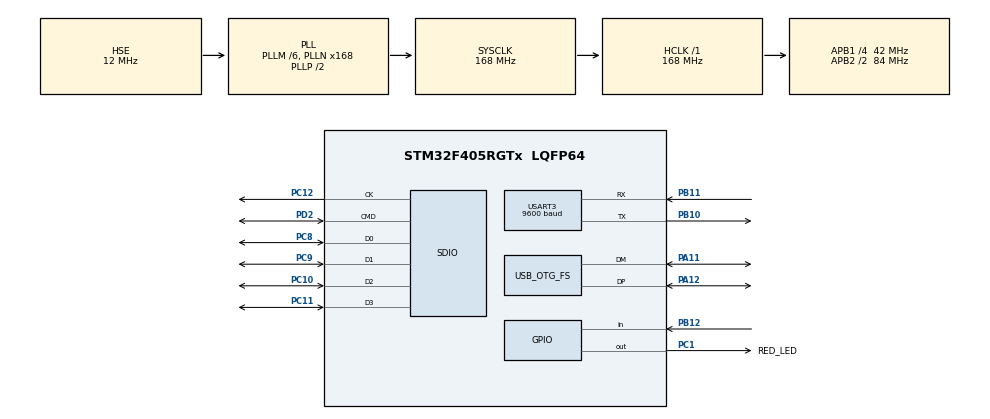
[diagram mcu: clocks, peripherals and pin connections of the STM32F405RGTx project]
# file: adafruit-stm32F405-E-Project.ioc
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Mcu.Family=STM32F4
NVIC.USART3_IRQn=true\:0\:0\:false\:false\:true\:true\:true
Dma.SDIO_TX.1.MemInc=DMA_MINC_ENABLE
USB_DEVICE.CLASS_NAME_FS=CDC
PH0-OSC_IN.Signal=RCC_OSC_IN
RCC.CortexFreq_Value=168000000
PC10.GPIO_PuPd=GPIO_PULLUP
FATFS0.BSP.api=Unknown
PB10.Mode=Asynchronous
VP_FATFS_VS_SDIO.Mode=SDIO
PC12.Signal=SDIO_CK
PC10.Signal=SDIO_D2
PA11.Mode=Device_Only
USB_DEVICE.VirtualMode-CDC_FS=Cdc
PB11.Signal=USART3_RX
Dma.SDIO_TX.1.PeriphBurst=DMA_PBURST_INC4
RCC.SYSCLKSource=RCC_SYSCLKSOURCE_PLLCLK
ProjectManager.StackSize=0x400
Dma.SDIO_RX.0.Direction=DMA_PERIPH_TO_MEMORY
Dma.SDIO_TX.1.PeriphInc=DMA_PINC_DISABLE
Dma.SDIO_TX.1.Instance=DMA2_Stream6
Dma.USART3_RX.2.Priority=DMA_PRIORITY_LOW
PA12.Signal=USB_OTG_FS_DP
Dma.SDIO_TX.1.PeriphDataAlignment=DMA_PDATAALIGN_WORD
USART3.BaudRate=9600
Dma.USART3_RX.2.PeriphInc=DMA_PINC_DISABLE
RCC.HCLKFreq_Value=168000000
RCC.APB2TimFreq_Value=168000000
Dma.SDIO_TX.1.FIFOMode=DMA_FIFOMODE_ENABLE
RCC.AHBFreq_Value=168000000
PH0-OSC_IN.Mode=HSE-External-Oscillator
FATFS0.BSP.ip=GPIO
RCC.HSE_VALUE=12000000
FATFS0.BSP.i2caddr=0
Dma.SDIO_TX.1.MemBurst=DMA_MBURST_INC4
PA14.Mode=Serial_Wire
PC9.Mode=SD_4_bits_Wide_bus
Dma.SDIO_TX.1.Direction=DMA_MEMORY_TO_PERIPH
Dma.SDIO_RX.0.MemDataAlignment=DMA_MDATAALIGN_WORD
PH1-OSC_OUT.Mode=HSE-External-Oscillator
Mcu.Package=LQFP64
FATFS0.BSP.solution=PB12
NVIC.OTG_FS_IRQn=true\:0\:0\:false\:false\:true\:false\:true
USB_OTG_FS.VirtualMode=Device_Only
PC11.Mode=SD_4_bits_Wide_bus
Dma.SDIO_TX.1.FIFOThreshold=DMA_FIFO_THRESHOLD_FULL
Dma.SDIO_TX.1.Priority=DMA_PRIORITY_LOW
RCC.APB2CLKDivider=RCC_HCLK_DIV2
Dma.Request2=USART3_RX
Dma.Request1=SDIO_TX
RCC.APB1TimFreq_Value=84000000
Dma.SDIO_RX.0.MemBurst=DMA_MBURST_INC4
Dma.SDIO_RX.0.Instance=DMA2_Stream3
Dma.Request0=SDIO_RX
Dma.SDIO_RX.0.FIFOMode=DMA_FIFOMODE_ENABLE
FATFS0.BSP.STBoard=false
Dma.SDIO_RX.0.Mode=DMA_PFCTRL
Dma.SDIO_RX.0.Priority=DMA_PRIORITY_LOW
PD2.GPIO_PuPd=GPIO_PULLUP
Dma.USART3_RX.2.Mode=DMA_CIRCULAR
USB_DEVICE.VirtualModeFS=Cdc_FS
PC11.Signal=SDIO_D3
FATFS0.BSP.mode=Input
PC8.Signal=SDIO_D0
Dma.SDIO_RX.0.PeriphInc=DMA_PINC_DISABLE
PC10.Mode=SD_4_bits_Wide_bus
NVIC.DMA1_Stream1_IRQn=true\:0\:0\:false\:false\:true\:false\:true
RCC.APB1CLKDivider=RCC_HCLK_DIV4
NVIC.SDIO_IRQn=true\:0\:0\:false\:false\:true\:true\:true
FATFS0.BSP.instance=PB12
PA13.Signal=SYS_JTMS-SWDIO
Dma.USART3_RX.2.PeriphDataAlignment=DMA_PDATAALIGN_BYTE
Dma.SDIO_TX.1.MemDataAlignment=DMA_MDATAALIGN_WORD
Dma.USART3_RX.2.MemInc=DMA_MINC_ENABLE
Dma.SDIO_RX.0.MemInc=DMA_MINC_ENABLE
PB11.Mode=Asynchronous
Dma.SDIO_RX.0.FIFOThreshold=DMA_FIFO_THRESHOLD_FULL
ProjectManager.TargetToolchain=STM32CubeIDE
VP_USB_DEVICE_VS_USB_DEVICE_CDC_FS.Mode=CDC_FS
NVIC.DMA2_Stream3_IRQn=true\:0\:0\:false\:false\:true\:false\:true
NVIC.DMA2_Stream6_IRQn=true\:0\:0\:false\:false\:true\:false\:true
Dma.USART3_RX.2.Direction=DMA_PERIPH_TO_MEMORY
RCC.LSE_VALUE=32768
PB10.Signal=USART3_TX
Dma.SDIO_RX.0.PeriphDataAlignment=DMA_PDATAALIGN_WORD
PD2.Mode=SD_4_bits_Wide_bus
FATFS.BSP.number=1
PC12.Mode=SD_4_bits_Wide_bus
board=custom
RCC.VCOOutputFreq_Value=336000000
FATFS.USE_DMA_CODE_SD=1
RCC.APB2Freq_Value=84000000
PC1.GPIO_Label=RED_LED
PC9.GPIO_PuPd=GPIO_PULLUP
PH1-OSC_OUT.Signal=RCC_OSC_OUT
Dma.SDIO_TX.1.Mode=DMA_PFCTRL
PA13.Mode=Serial_Wire
Mcu.Name=STM32F405RGTx
PC8.Mode=SD_4_bits_Wide_bus
RCC.48MHZClocksFreq_Value=48000000
PC8.GPIO_PuPd=GPIO_PULLUP
RCC.SYSCLKFreq_VALUE=168000000
PA12.Mode=Device_Only
USART3.VirtualMode=VM_ASYNC
PA11.Signal=USB_OTG_FS_DM
PA14.Signal=SYS_JTCK-SWCLK
ProjectManager.HeapSize=0x200
Dma.USART3_RX.2.FIFOMode=DMA_FIFOMODE_DISABLE
RCC.HSI_VALUE=16000000
RCC.PLLQ=7
Dma.USART3_RX.2.MemDataAlignment=DMA_MDATAALIGN_BYTE
NVIC.PriorityGroup=NVIC_PRIORITYGROUP_4
RCC.PLLM=6
RCC.PLLN=168
Dma.SDIO_RX.0.PeriphBurst=DMA_PBURST_INC4
PC9.Signal=SDIO_D1
Dma.USART3_RX.2.Instance=DMA1_Stream1
PD2.Signal=SDIO_CMD
RCC.APB1Freq_Value=42000000
PC1.Signal=GPIO_Output
PB12.Signal=GPIO_Input
FATFS0.BSP.name=Detect_SDIO

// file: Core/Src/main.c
/* USER CODE BEGIN Header */
/**
  ******************************************************************************
  * @file           : main.c
  * @brief          : Main program body
  ******************************************************************************
  * @attention
  *
  * <h2><center>&copy; Copyright (c) 2021 STMicroelectronics.
  * All rights reserved.</center></h2>
  *
  * This software component is licensed by ST under BSD 3-Clause license,
  * the "License"; You may not use this file except in compliance with the
  * License. You may obtain a copy of the License at:
  *                        opensource.org/licenses/BSD-3-Clause
  *
  ******************************************************************************
  */
/* USER CODE END Header */
#include "main.h"
#include "fatfs.h"
#include "usb_device.h"

/* USER CODE BEGIN Includes */
#include "stdio.h"
#include "string.h"
#include "usbd_cdc_if.h"
#include "stdbool.h"
/* USER CODE END Includes */

SD_HandleTypeDef hsd;
DMA_HandleTypeDef hdma_sdio_rx;
DMA_HandleTypeDef hdma_sdio_tx;

UART_HandleTypeDef huart3;
DMA_HandleTypeDef hdma_usart3_rx;

/* USER CODE BEGIN PV */
//static const uint32_t I2C_DELAY = 1000;
//static const uint8_t I2C_ADDR = 0b1101000 << 1;
//static const uint8_t I2C_REG_ADDR = 0x41;

volatile uint8_t GPSbuff[512];
//const uint32_t GPSbuffSize = sizeof(GPSbuff);
//volatile uint8_t GPSbuffCplt = 0;
//volatile int32_t GPS_idx = 0;

/* USER CODE END PV */

void SystemClock_Config(void);
static void MX_GPIO_Init(void);
static void MX_DMA_Init(void);
static void MX_SDIO_SD_Init(void);
static void MX_USART3_UART_Init(void);
/* USER CODE BEGIN PFP */
void printVCP(char* buf);
FRESULT AppendToFile(char* path, size_t path_len, char* msg, size_t msg_len);
void BlinkLED(uint32_t blink_delay, uint8_t num_blinks);

void HAL_UART_RxCpltCallback(UART_HandleTypeDef *huart);

/* USER CODE END PFP */

/* USER CODE BEGIN 0 */

void HAL_UART_RxCpltCallback(UART_HandleTypeDef *huart)
{
//	Note: trying to write to file inside this function doesnt work for some reason.
	CDC_Transmit_FS((uint8_t*)GPSbuff, 512);
//	GPSbuffCplt = 1;
}

/* USER CODE END 0 */

int main(void)
{
  /* USER CODE BEGIN 1 */
//	FRESULT fres;
//	char* msg = "Successfully written to sd card:D\n";
//	char log_path[] = "/LOG.TXT";
//	uint32_t currentTick = HAL_GetTick();
//	uint8_t* magData;
//	HAL_StatusTypeDef ret;
//	char msg[20] = "empty";

//	uint32_t currentTick = HAL_GetTick();

  /* USER CODE END 1 */

  /* MCU Configuration--------------------------------------------------------*/

  /* Reset of all peripherals, Initializes the Flash interface and the Systick. */
  HAL_Init();

  /* Configure the system clock */
  SystemClock_Config();

  /* Initialize all configured peripherals */
  MX_GPIO_Init();
  MX_DMA_Init();
  MX_USB_DEVICE_Init();
  MX_SDIO_SD_Init();
  MX_FATFS_Init();
  MX_USART3_UART_Init();
  /* USER CODE BEGIN 2 */

  HAL_UART_Receive_DMA(&huart3, (uint8_t*)GPSbuff, 512);

  /* USER CODE END 2 */

  /* Infinite loop */
  /* USER CODE BEGIN WHILE */
  while (1)
  {
	  //NB: to transfer data to serial, do the following:
	  //uint8_t GPSdata[3] = {0x45, 0x34, 0x24};
	  //CDC_Transmit_FS((uint8_t*)GPSdata, 3);
	  //And to append to file use
	  //AppendToFile(log_path, strlen(log_path), (char*)GPSdata, 3);

//	  if((HAL_GetTick() - currentTick) >= 1000)
//		{
//			//Turn LED on while writing to file
//			HAL_GPIO_WritePin(RED_LED_GPIO_Port, RED_LED_Pin, GPIO_PIN_SET);
//			fres = AppendToFile(log_path, strlen(log_path), msg, strlen(msg));
//			HAL_GPIO_WritePin(RED_LED_GPIO_Port, RED_LED_Pin, GPIO_PIN_RESET);
//
//			currentTick = HAL_GetTick();
//			printVCP((char*)"fileappend called\n\r");
//
//			//If error writing to card, blink 3 times
//			if(fres != FR_OK)
//			{
//				BlinkLED(200, 3);
//				printVCP((char*)"error no SD card present\n\r");
//			}
//		}

//	  HAL_Delay(1000);
//
//	  ret =  HAL_I2C_Master_Transmit(&hi2c2, (uint16_t)I2C_ADDR, (uint8_t*)&I2C_REG_ADDR, 1, I2C_DELAY);
//	  if(ret != HAL_OK){
//		  printVCP((char*)"transmit error\n\r");
//	  }
//
//	  ret = HAL_I2C_Master_Receive(&hi2c2, (uint16_t)I2C_ADDR, (uint8_t*)magData, 2, I2C_DELAY);
//	  if(ret != HAL_OK){
//	  		  printVCP((char*)"read error\n\r");
//	  	  }
//	  uint32_t hold = ((magData[0] << 4) | (magData[1]));
//	  sprintf((char*)msg, "%d\n\r", (int)hold);
//	  printVCP((char*)msg);

    /* USER CODE END WHILE */

  }
}

void SystemClock_Config(void)
{
  RCC_OscInitTypeDef RCC_OscInitStruct = {0};
  RCC_ClkInitTypeDef RCC_ClkInitStruct = {0};

  /** Configure the main internal regulator output voltage
  */
  __HAL_RCC_PWR_CLK_ENABLE();
  __HAL_PWR_VOLTAGESCALING_CONFIG(PWR_REGULATOR_VOLTAGE_SCALE1);
  /** Initializes the RCC Oscillators according to the specified parameters
  * in the RCC_OscInitTypeDef structure.
  */
  RCC_OscInitStruct.OscillatorType = RCC_OSCILLATORTYPE_HSE;
  RCC_OscInitStruct.HSEState = RCC_HSE_ON;
  RCC_OscInitStruct.PLL.PLLState = RCC_PLL_ON;
  RCC_OscInitStruct.PLL.PLLSource = RCC_PLLSOURCE_HSE;
  RCC_OscInitStruct.PLL.PLLM = 6;
  RCC_OscInitStruct.PLL.PLLN = 168;
  RCC_OscInitStruct.PLL.PLLP = RCC_PLLP_DIV2;
  RCC_OscInitStruct.PLL.PLLQ = 7;
  if (HAL_RCC_OscConfig(&RCC_OscInitStruct) != HAL_OK)
  {
    Error_Handler();
  }
  /** Initializes the CPU, AHB and APB buses clocks
  */
  RCC_ClkInitStruct.ClockType = RCC_CLOCKTYPE_HCLK|RCC_CLOCKTYPE_SYSCLK
                              |RCC_CLOCKTYPE_PCLK1|RCC_CLOCKTYPE_PCLK2;
  RCC_ClkInitStruct.SYSCLKSource = RCC_SYSCLKSOURCE_PLLCLK;
  RCC_ClkInitStruct.AHBCLKDivider = RCC_SYSCLK_DIV1;
  RCC_ClkInitStruct.APB1CLKDivider = RCC_HCLK_DIV4;
  RCC_ClkInitStruct.APB2CLKDivider = RCC_HCLK_DIV2;

  if (HAL_RCC_ClockConfig(&RCC_ClkInitStruct, FLASH_LATENCY_5) != HAL_OK)
  {
    Error_Handler();
  }
}

static void MX_SDIO_SD_Init(void)
{

  hsd.Instance = SDIO;
  hsd.Init.ClockEdge = SDIO_CLOCK_EDGE_RISING;
  hsd.Init.ClockBypass = SDIO_CLOCK_BYPASS_DISABLE;
  hsd.Init.ClockPowerSave = SDIO_CLOCK_POWER_SAVE_DISABLE;
  hsd.Init.BusWide = SDIO_BUS_WIDE_1B;
  hsd.Init.HardwareFlowControl = SDIO_HARDWARE_FLOW_CONTROL_DISABLE;
  hsd.Init.ClockDiv = 0;

}

static void MX_USART3_UART_Init(void)
{

  huart3.Instance = USART3;
  huart3.Init.BaudRate = 9600;
  huart3.Init.WordLength = UART_WORDLENGTH_8B;
  huart3.Init.StopBits = UART_STOPBITS_1;
  huart3.Init.Parity = UART_PARITY_NONE;
  huart3.Init.Mode = UART_MODE_TX_RX;
  huart3.Init.HwFlowCtl = UART_HWCONTROL_NONE;
  huart3.Init.OverSampling = UART_OVERSAMPLING_16;
  if (HAL_UART_Init(&huart3) != HAL_OK)
  {
    Error_Handler();
  }

}

static void MX_DMA_Init(void)
{

  /* DMA controller clock enable */
  __HAL_RCC_DMA2_CLK_ENABLE();
  __HAL_RCC_DMA1_CLK_ENABLE();

  /* DMA interrupt init */
  /* DMA1_Stream1_IRQn interrupt configuration */
  HAL_NVIC_SetPriority(DMA1_Stream1_IRQn, 0, 0);
  HAL_NVIC_EnableIRQ(DMA1_Stream1_IRQn);
  /* DMA2_Stream3_IRQn interrupt configuration */
  HAL_NVIC_SetPriority(DMA2_Stream3_IRQn, 0, 0);
  HAL_NVIC_EnableIRQ(DMA2_Stream3_IRQn);
  /* DMA2_Stream6_IRQn interrupt configuration */
  HAL_NVIC_SetPriority(DMA2_Stream6_IRQn, 0, 0);
  HAL_NVIC_EnableIRQ(DMA2_Stream6_IRQn);

}

static void MX_GPIO_Init(void)
{
  GPIO_InitTypeDef GPIO_InitStruct = {0};

  /* GPIO Ports Clock Enable */
  __HAL_RCC_GPIOH_CLK_ENABLE();
  __HAL_RCC_GPIOC_CLK_ENABLE();
  __HAL_RCC_GPIOB_CLK_ENABLE();
  __HAL_RCC_GPIOA_CLK_ENABLE();
  __HAL_RCC_GPIOD_CLK_ENABLE();

  /*Configure GPIO pin Output Level */
  HAL_GPIO_WritePin(RED_LED_GPIO_Port, RED_LED_Pin, GPIO_PIN_RESET);

  /*Configure GPIO pin : RED_LED_Pin */
  GPIO_InitStruct.Pin = RED_LED_Pin;
  GPIO_InitStruct.Mode = GPIO_MODE_OUTPUT_PP;
  GPIO_InitStruct.Pull = GPIO_NOPULL;
  GPIO_InitStruct.Speed = GPIO_SPEED_FREQ_LOW;
  HAL_GPIO_Init(RED_LED_GPIO_Port, &GPIO_InitStruct);

  /*Configure GPIO pin : PB12 */
  GPIO_InitStruct.Pin = GPIO_PIN_12;
  GPIO_InitStruct.Mode = GPIO_MODE_INPUT;
  GPIO_InitStruct.Pull = GPIO_NOPULL;
  HAL_GPIO_Init(GPIOB, &GPIO_InitStruct);

}

/* USER CODE BEGIN 4 */
void printVCP(char* buf)
{
	char* eol = "\r\n";
	strcat(buf, eol);
	CDC_Transmit_FS((uint8_t*)buf, strlen(buf)); //use sizeof() as it returns size of array of anytype, strlen() expects char pointer in its argument
}

//Append string to file given a path
FRESULT AppendToFile(char* path, size_t path_len, char* msg, size_t msg_len)
{
	FATFS fs;
	FIL myfile;
	UINT testByte;
	FRESULT stat;

	//Bounds check on strings(i.e. check if strings are null terminated
	if((path[path_len] != 0) || (msg[msg_len] != 0))
	{
		return FR_INVALID_NAME;
	}

	//Re-initialize SD (allows SD card to be hot pluggable)
	if ( BSP_SD_Init() != MSD_OK)
	{
		return FR_NOT_READY;
	}

	//Re-initialize FATFS
	if(FATFS_UnLinkDriver(SDPath) != 0)
	{
		return FR_NOT_READY;
	}

	if(FATFS_LinkDriver(&SD_Driver, SDPath) != 0)
	{
		return FR_NOT_READY;
	}

	//Re-initialize and re-mount the FAT filesystem
	stat = f_mount(&fs, SDPath, 0);
	if(stat != FR_OK)
	{
		//unmount file system
		f_mount(0, SDPath, 0);
		//return error back to caller
		return stat;
	}

	//Open file for appending
	stat = f_open(&myfile, path, FA_WRITE | FA_OPEN_APPEND);
	if(stat != FR_OK)
	{
		f_mount(0, SDPath, 0);
		return stat;
	}

	//Write message to end of file
	stat = f_write(&myfile, msg, msg_len, &testByte);
	if(stat != FR_OK)
	{
		f_mount(0,SDPath, 0);
		return stat;
	}

	//Sync, close file, unmount
	stat = f_close(&myfile);
	f_mount(0, SDPath, 0);

	return stat;
}

//Blink onboard LED
void BlinkLED(uint32_t blink_delay, uint8_t num_blinks)
{
	for(int i = 0; i < num_blinks; i++)
	{
		HAL_GPIO_TogglePin(RED_LED_GPIO_Port, RED_LED_Pin);
		HAL_Delay(blink_delay);
	}
}

/* USER CODE END 4 */

void Error_Handler(void)
{
  __disable_irq();
  while (1)
  {
  }
}

/************************ (C) COPYRIGHT STMicroelectronics *****END OF FILE****/
